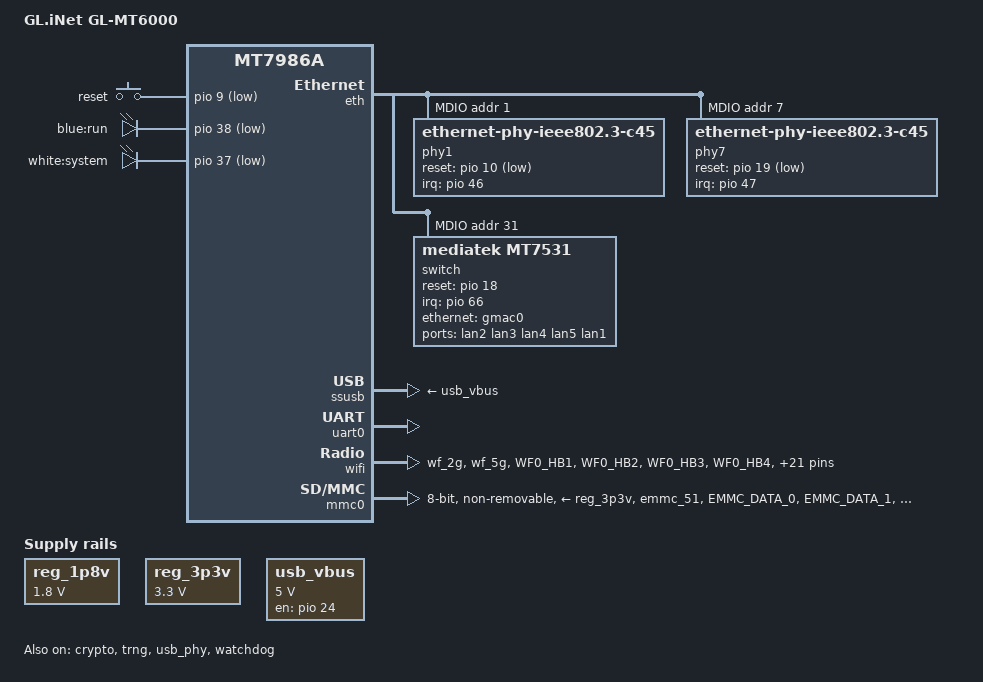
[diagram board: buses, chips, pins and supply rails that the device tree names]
// SPDX-License-Identifier: GPL-2.0-or-later OR MIT

/dts-v1/;
#include <dt-bindings/gpio/gpio.h>
#include <dt-bindings/input/input.h>
#include <dt-bindings/pinctrl/mt65xx.h>

#include "mt7986a.dtsi"

/ {
	model = "GL.iNet GL-MT6000";
	compatible = "glinet,gl-mt6000", "mediatek,mt7986a";

	aliases {
		led-boot = &led_run;
		led-failsafe = &led_run;
		led-running = &led_white;
		led-upgrade = &led_run;
		serial0 = &uart0;
	};

	chosen {
		stdout-path = "serial0:115200n8";
		bootargs-append = " root=PARTLABEL=rootfs rootwait";
	};

	reg_1p8v: regulator-1p8v {
		compatible = "regulator-fixed";
		regulator-name = "1.8vd";
		regulator-min-microvolt = <1800000>;
		regulator-max-microvolt = <1800000>;
		regulator-boot-on;
		regulator-always-on;
	};

	reg_3p3v: regulator-3p3v {
		compatible = "regulator-fixed";
		regulator-name = "fixed-3.3V";
		regulator-min-microvolt = <3300000>;
		regulator-max-microvolt = <3300000>;
		regulator-boot-on;
		regulator-always-on;
	};

	keys {
		compatible = "gpio-keys";

		reset {
			label = "reset";
			linux,code = <KEY_RESTART>;
			gpios = <&pio 9 GPIO_ACTIVE_LOW>;
		};
	};

	leds {
		compatible = "gpio-leds";

		led_run: run {
			label = "blue:run";
			gpios = <&pio 38 GPIO_ACTIVE_LOW>;
			default-state = "on";
		};

		led_white: system {
			label = "white:system";
			gpios = <&pio 37 GPIO_ACTIVE_LOW>;
		};
	};

	usb_vbus: regulator-usb-vbus {
		compatible = "regulator-fixed";
		regulator-name = "usb_vbus";
		regulator-min-microvolt = <5000000>;
		regulator-max-microvolt = <5000000>;
		gpios = <&pio 24 GPIO_ACTIVE_HIGH>;
		enable-active-high;
		regulator-boot-on;
	};
};

&eth {
	status = "okay";

	gmac0: mac@0 {
		compatible = "mediatek,eth-mac";
		reg = <0>;
		phy-mode = "2500base-x";

		fixed-link {
			speed = <2500>;
			full-duplex;
			pause;
		};
	};

	gmac1: mac@1 {
		compatible = "mediatek,eth-mac";
		reg = <1>;
		phy-mode = "2500base-x";
		phy-handle = <&phy1>;
	};

	mdio: mdio-bus {
		#address-cells = <1>;
		#size-cells = <0>;

		phy1: phy@1 {
			compatible = "ethernet-phy-ieee802.3-c45";
			reg = <1>;
			reset-assert-us = <100000>;
			reset-deassert-us = <100000>;
			reset-gpios = <&pio 10 GPIO_ACTIVE_LOW>;
			interrupt-parent = <&pio>;
			interrupts = <46 IRQ_TYPE_LEVEL_LOW>;
			realtek,aldps-enable;
		};

		phy7: ethernet-phy@7 {
			compatible = "ethernet-phy-ieee802.3-c45";
			reg = <7>;
			reset-assert-us = <100000>;
			reset-deassert-us = <100000>;
			reset-gpios = <&pio 19 GPIO_ACTIVE_LOW>;
			interrupt-parent = <&pio>;
			interrupts = <47 IRQ_TYPE_LEVEL_LOW>;
			realtek,aldps-enable;
		};

		switch: switch@31 {
			compatible = "mediatek,mt7531";
			reg = <31>;
			reset-gpios = <&pio 18 GPIO_ACTIVE_HIGH>;
			interrupt-controller;
			#interrupt-cells = <1>;
			interrupt-parent = <&pio>;
			interrupts = <66 IRQ_TYPE_LEVEL_HIGH>;

			ports {
				#address-cells = <1>;
				#size-cells = <0>;

				port@0 {
					reg = <0>;
					label = "lan2";
				};

				port@1 {
					reg = <1>;
					label = "lan3";
				};

				port@2 {
					reg = <2>;
					label = "lan4";
				};

				port@3 {
					reg = <3>;
					label = "lan5";
				};

				port@5 {
					reg = <5>;
					label = "lan1";
					phy-handle = <&phy7>;
					phy-mode = "2500base-x";
				};

				port@6 {
					reg = <6>;
					ethernet = <&gmac0>;
					phy-mode = "2500base-x";

					fixed-link {
						speed = <2500>;
						full-duplex;
						pause;
					};
				};
			};
		};
	};
};

&pio {
	wf_2g_5g_pins: wf_2g_5g-pins {
		mux {
			function = "wifi";
			groups = "wf_2g", "wf_5g";
		};
		conf {
			pins = "WF0_HB1", "WF0_HB2", "WF0_HB3", "WF0_HB4",
			       "WF0_HB0", "WF0_HB0_B", "WF0_HB5", "WF0_HB6",
			       "WF0_HB7", "WF0_HB8", "WF0_HB9", "WF0_HB10",
			       "WF0_TOP_CLK", "WF0_TOP_DATA", "WF1_HB1",
			       "WF1_HB2", "WF1_HB3", "WF1_HB4", "WF1_HB0",
			       "WF1_HB5", "WF1_HB6", "WF1_HB7", "WF1_HB8",
			       "WF1_TOP_CLK", "WF1_TOP_DATA";
			drive-strength = <4>;
		};
	};

	mmc0_pins_default: mmc0-pins {
		mux {
			function = "emmc";
			groups = "emmc_51";
		};
		conf-cmd-dat {
			pins = "EMMC_DATA_0", "EMMC_DATA_1", "EMMC_DATA_2",
			       "EMMC_DATA_3", "EMMC_DATA_4", "EMMC_DATA_5",
			       "EMMC_DATA_6", "EMMC_DATA_7", "EMMC_CMD";
			input-enable;
			drive-strength = <4>;
			mediatek,pull-up-adv = <1>;	/* pull-up 10K */
		};
		conf-clk {
			pins = "EMMC_CK";
			drive-strength = <6>;
			mediatek,pull-down-adv = <2>;	/* pull-down 50K */
		};
		conf-ds {
			pins = "EMMC_DSL";
			mediatek,pull-down-adv = <2>;	/* pull-down 50K */
		};
		conf-rst {
			pins = "EMMC_RSTB";
			drive-strength = <4>;
			mediatek,pull-up-adv = <1>;	/* pull-up 10K */
		};
	};

	mmc0_pins_uhs: mmc0-uhs-pins {
		mux {
			function = "emmc";
			groups = "emmc_51";
		};
		conf-cmd-dat {
			pins = "EMMC_DATA_0", "EMMC_DATA_1", "EMMC_DATA_2",
			       "EMMC_DATA_3", "EMMC_DATA_4", "EMMC_DATA_5",
			       "EMMC_DATA_6", "EMMC_DATA_7", "EMMC_CMD";
			input-enable;
			drive-strength = <4>;
			mediatek,pull-up-adv = <1>;	/* pull-up 10K */
		};
		conf-clk {
			pins = "EMMC_CK";
			drive-strength = <6>;
			mediatek,pull-down-adv = <2>;	/* pull-down 50K */
		};
		conf-ds {
			pins = "EMMC_DSL";
			mediatek,pull-down-adv = <2>;	/* pull-down 50K */
		};
		conf-rst {
			pins = "EMMC_RSTB";
			drive-strength = <4>;
			mediatek,pull-up-adv = <1>;	/* pull-up 10K */
		};
	};
};

&crypto {
	status = "okay";
};

&ssusb {
	vusb33-supply = <&reg_3p3v>;
	vbus-supply = <&usb_vbus>;
	status = "okay";
};

&trng {
	status = "okay";
};

&uart0 {
	status = "okay";
};

&usb_phy {
	status = "okay";
};

&watchdog {
	status = "okay";
};

&wifi {
	pinctrl-names = "default";
	pinctrl-0 = <&wf_2g_5g_pins>;
	status = "okay";
};

&mmc0 {
	pinctrl-names = "default", "state_uhs";
	pinctrl-0 = <&mmc0_pins_default>;
	pinctrl-1 = <&mmc0_pins_uhs>;
	bus-width = <8>;
	max-frequency = <200000000>;
	cap-mmc-highspeed;
	mmc-hs200-1_8v;
	mmc-hs400-1_8v;
	hs400-ds-delay = <0x14014>;
	vmmc-supply = <&reg_3p3v>;
	vqmmc-supply = <&reg_1p8v>;
	non-removable;
	no-sd;
	no-sdio;
	status = "okay";
};
